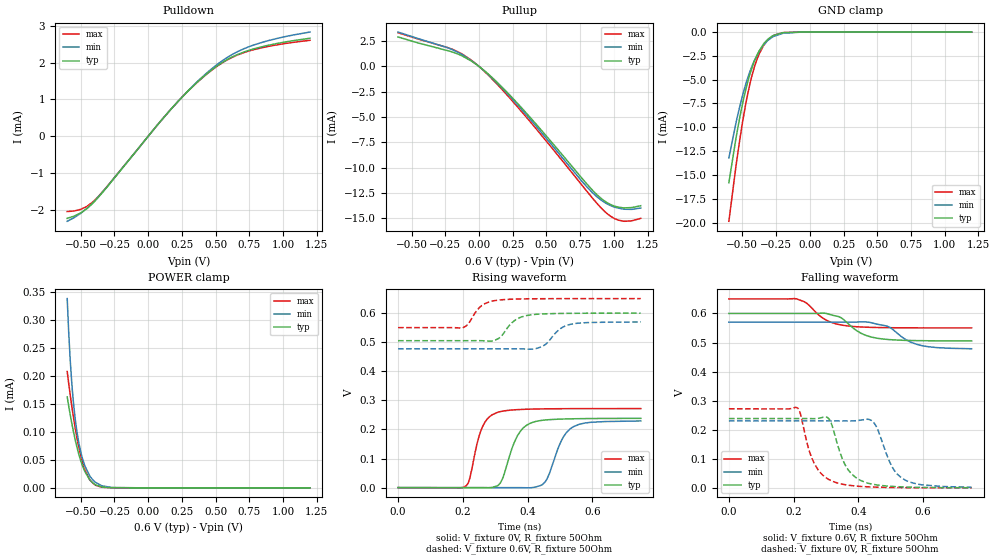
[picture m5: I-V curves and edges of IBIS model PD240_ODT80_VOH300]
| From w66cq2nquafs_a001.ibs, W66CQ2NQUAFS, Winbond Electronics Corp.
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[Model]   PD240_ODT80_VOH300
Model_type   I/O
Polarity   Non-Inverting
Enable   Active-Low
Vinl = 0.08
Vinh = 0.22
Vmeas = 0.15
Vref = 0
Cref = 0pF
Rref = 80
|   typ   min   max
C_comp   0.85pF   0.80pF   0.90pF
[Voltage Range]   0.6   0.57   0.65
[Temperature Range]   25   125   -40
[Pullup Reference]   0.6   0.57   0.65
[Pulldown Reference]   0   0   0
[Power Clamp Reference]   0.6   0.57   0.65
[GND Clamp Reference]   0   0   0
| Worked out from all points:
|   slope of the pulldown table from 0 to 0.09 V, typ, clamps not added: 224 ohm
|   slope of the pullup table from 0 to 0.09 V, typ, clamps not added: 89.2 ohm
|   GND clamp passes 1 mA (typ) near -0.33 V on its own axis
|   falling waveform, V_fixture 0.6V, R_fixture 50Ohm: 20-80 % time 72.2ps typ, 74.9ps min, 68.8ps max; typ from 0.6 V to 0.505 V
|   rising waveform, V_fixture 0V, R_fixture 50Ohm: 20-80 % time 48ps typ, 49.9ps min, 38.5ps max; typ from 0 V to 0.238 V
|   rising waveform, V_fixture 0.6V, R_fixture 50Ohm: 20-80 % time 47.6ps typ, 49.3ps min, 42.8ps max; typ from 0.505 V to 0.6 V
|   falling waveform, V_fixture 0V, R_fixture 50Ohm: 20-80 % time 53.9ps typ, 54.6ps min, 52.4ps max; typ from 0.238 V to 0 V
[Pulldown]
|   Voltage   I(typ)   I(min)   I(max)
-600mV    -2.227mA   -2.306mA   -2.041mA
-498.6mV  -2.075mA   -2.087mA   -1.98mA
-455.7mV  -1.966mA   -1.96mA    -1.905mA
-403.2mV  -1.79mA    -1.777mA   -1.757mA
-310.8mV  -1.405mA   -1.395mA   -1.39mA
170.6mV   742.6uA    741.2uA    741uA
343.2mV   1.399mA    1.409mA    1.394mA
471.8mV   1.804mA    1.835mA    1.797mA
620.7mV   2.149mA    2.216mA    2.139mA
760.4mV   2.349mA    2.451mA    2.33mA
971.5mV   2.532mA    2.671mA    2.494mA
1.2V      2.663mA    2.831mA    2.607mA
[GND Clamp]
|   Voltage   I(typ)   I(min)   I(max)
-600mV    -15.82mA   -13.22mA   -19.87mA
-545.4mV  -11mA      -9.415mA   -13.87mA
-498.6mV  -7.53mA    -6.667mA   -9.452mA
-474.6mV  -6.038mA   -5.466mA   -7.515mA
-434.3mV  -3.988mA   -3.784mA   -4.862mA
-410.8mV  -3.059mA   -2.993mA   -3.664mA
-375.6mV  -1.99mA    -2.018mA   -2.313mA
-344.6mV  -1.29mA    -1.379mA   -1.448mA
-279mV    -422.2uA   -546.8uA   -461uA
-197mV    -69.73uA   -127.8uA   -57.52uA
-59.4mV   -1.358uA   -6.601uA   -493.1nA
1.2V      0A         0A         0A
[Pullup]
|   Voltage   I(typ)   I(min)   I(max)
-600mV    2.903mA    3.391mA    3.32mA
-197mV    1.417mA    1.653mA    1.689mA
-59.4mV   548.2uA    600.2uA    639.4uA
67.2mV    -737.7uA   -779.2uA   -838.2uA
228.1mV   -2.828mA   -2.947mA   -3.118mA
443.4mV   -6.007mA   -6.216mA   -6.476mA
763.4mV   -11.04mA   -11.35mA   -11.72mA
875.2mV   -12.68mA   -12.88mA   -13.53mA
953.3mV   -13.49mA   -13.6mA    -14.57mA
1.03V     -13.89mA   -13.99mA   -15.17mA
1.129V    -13.95mA   -14.12mA   -15.26mA
1.2V      -13.76mA   -13.99mA   -15.01mA
[POWER Clamp]
|   Voltage   I(typ)   I(min)   I(max)
-600mV    162.4uA    337.9uA    207.7uA
-589.2mV  146.5uA    278.7uA    187uA
-578.3mV  131.4uA    230.6uA    167.2uA
-565.8mV  115.1uA    186.1uA    145.6uA
-552.1mV  98.55uA    148.2uA    123.7uA
-528.8mV  73.52uA    101.5uA    90.41uA
-499.3mV  48.09uA    63.78uA    56.52uA
-468.9mV  29uA       39.03uA    32.26uA
-433.6mV  14.62uA    21.72uA    14.6uA
-391.8mV  5.665uA    10.19uA    5.018uA
-273.4mV  160.7nA    736nA      45.29nA
1.2V      0A         0A         0A
[Ramp]
R_load = 50
|   typ   min   max
dV/dt_r 1.4295E-01/4.7710E-11   1.3754E-01/4.9802E-11   1.6308E-01/3.8432E-11
dV/dt_f 5.6752E-02/7.2245E-11   5.4866E-02/7.4562E-11   5.9869E-02/6.8541E-11
[Falling Waveform]
V_fixture = 0.6V
V_fixture_min = 0.57V
V_fixture_max = 0.65V
R_fixture = 50Ohm
C_fixture = 0F
|   Time   V(typ)   V(min)   V(max)
0s        600mV      570mV      650mV
209ps     600mV      570mV      650.2mV
240ps     600mV      570mV      635.7mV
298ps     600.6mV    570mV      578.8mV
346ps     585.7mV    570mV      560.6mV
427ps     523.2mV    570.6mV    552.6mV
494ps     510.2mV    554mV      551mV
548ps     507.3mV    509.2mV    550.5mV
582ps     506.5mV    493.3mV    550.4mV
750ps     505.4mV    478.6mV    550.2mV
[Rising Waveform]
V_fixture = 0V
V_fixture_min = 0V
V_fixture_max = 0V
R_fixture = 50Ohm
C_fixture = 0F
|   Time   V(typ)   V(min)   V(max)
0s        8.405uV    67.97uV    1.644uV
210ps     8.358uV    67.97uV    6.073mV
259ps     -79.76uV   68.02uV    204.2mV
309ps     7.86mV     68.1uV     259.4mV
368ps     176.5mV    58.22uV    268.2mV
407ps     220.6mV    -473.2uV   269.9mV
455ps     232.6mV    20.21mV    270.9mV
505ps     235.8mV    162.3mV    271.4mV
540ps     236.7mV    208.6mV    271.6mV
750ps     238.3mV    229.3mV    271.8mV
[Rising Waveform]
V_fixture = 0.6V
V_fixture_min = 0.57V
V_fixture_max = 0.65V
R_fixture = 50Ohm
C_fixture = 0F
|   Time   V(typ)   V(min)   V(max)
0s        505.3mV    477.4mV    550.2mV
200ps     505.3mV    477.4mV    549.6mV
258ps     505.3mV    477.4mV    625.6mV
309ps     511.9mV    477.4mV    644.7mV
352ps     567.2mV    477.5mV    648mV
397ps     591.7mV    476.5mV    649.1mV
448ps     597.4mV    487.1mV    649.6mV
498ps     598.9mV    543.7mV    649.8mV
532ps     599.3mV    561.3mV    649.9mV
750ps     600mV      569.7mV    650mV
[Falling Waveform]
|Gnd
V_fixture = 0V
V_fixture_min = 0V
V_fixture_max = 0V
R_fixture = 50Ohm
C_fixture = 0F
|   Time   V(typ)   V(min)   V(max)
0s        238.4mV    230.3mV    271.8mV
212ps     238.4mV    230.3mV    275.1mV
254ps     238.2mV    230.3mV    108.9mV
302ps     243.4mV    230.3mV    33.43mV
368ps     62.78mV    230.1mV    9.166mV
433ps     15.13mV    235.4mV    3.317mV
455ps     10.39mV    212.3mV    2.387mV
498ps     5.385mV    86.31mV    1.25mV
533ps     3.421mV    34.46mV    734.1uV
750ps     252.1uV    1.935mV    -1.078uV
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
